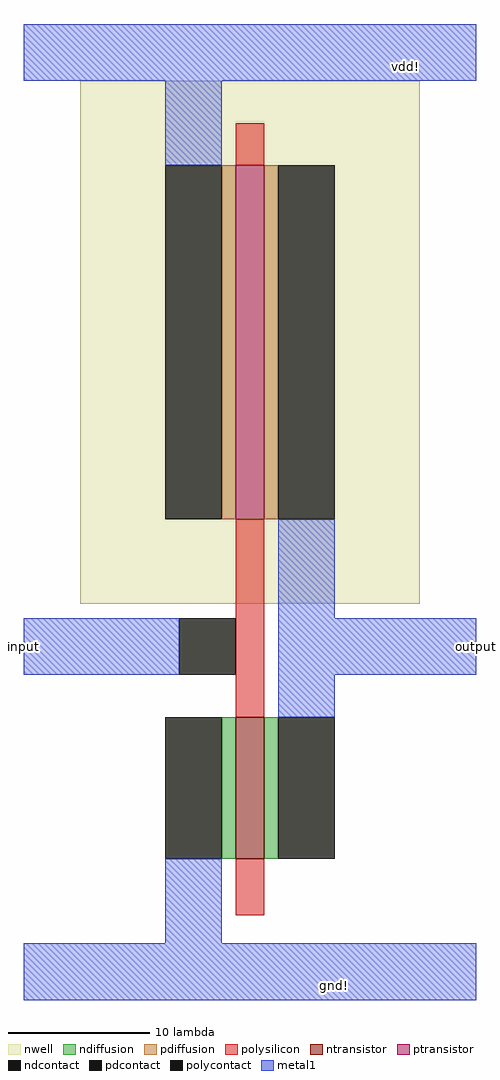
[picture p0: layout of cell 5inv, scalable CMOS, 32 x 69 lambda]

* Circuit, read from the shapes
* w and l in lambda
.subckt 5inv gnd! input output vdd!
M1 output input gnd! VSUBS nfet w=10 l=2
M2 output input vdd! n1 pfet w=25 l=2
.ends

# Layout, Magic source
magic
tech scmos
<< nwell >>
rect -6 -6 18 31
<< ntransistor >>
rect 5 -24 7 -14
<< ptransistor >>
rect 5 0 7 25
<< ndiffusion >>
rect 4 -24 5 -14
rect 7 -24 8 -14
<< pdiffusion >>
rect 4 0 5 25
rect 7 0 8 25
<< ndcontact >>
rect 0 -24 4 -14
rect 8 -24 12 -14
<< pdcontact >>
rect 0 0 4 25
rect 8 0 12 25
<< polysilicon >>
rect 5 25 7 28
rect 5 -14 7 0
rect 5 -28 7 -24
<< polycontact >>
rect 1 -11 5 -7
<< metal1 >>
rect -10 31 22 35
rect 0 25 4 31
rect 8 -7 12 0
rect -10 -11 1 -7
rect 8 -11 22 -7
rect 8 -14 12 -11
rect 0 -30 4 -24
rect -10 -34 22 -30
<< labels >>
rlabel metal1 17 32 17 32 6 vdd!
rlabel metal1 12 -33 12 -33 1 gnd!
rlabel metal1 22 -11 22 -7 7 output
rlabel metal1 -10 -11 -10 -7 3 input
<< end >>
